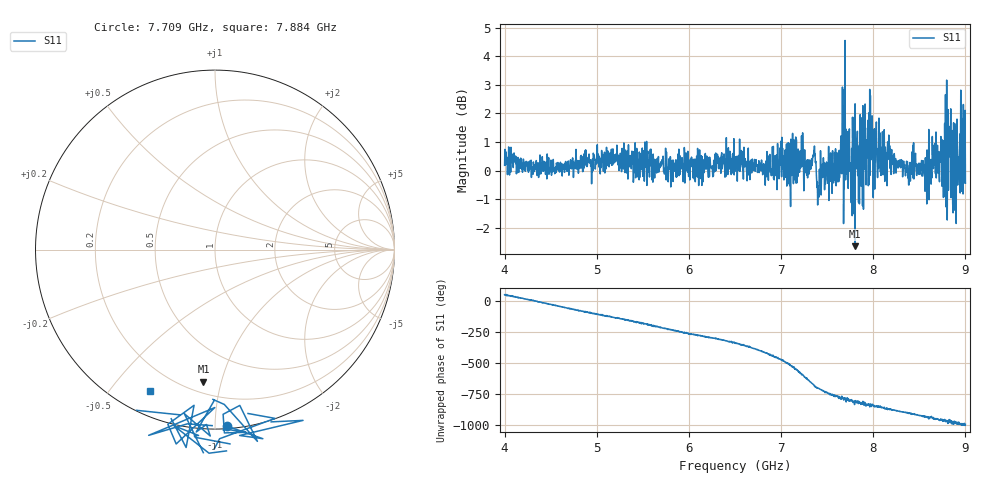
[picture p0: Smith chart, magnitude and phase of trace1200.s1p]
! Created with skrf 1.8.0 (http://scikit-rf.org).
# Hz S RI R 50.0
!freq ReS11 ImS11
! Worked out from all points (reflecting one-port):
!   1601 points, 4 GHz to 9 GHz, reference 50 ohm
!   lowest |S11| = -2.6 dB at 7.8 GHz (marker M1), VSWR 6.64, Z = 13.6 - j43.9 ohm
!   phase of S11 starts at 51 deg and turns -1048 deg over the sweep
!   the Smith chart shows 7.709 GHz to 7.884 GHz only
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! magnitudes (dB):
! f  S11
! 4 GHz  0.2
! 4.625 GHz  -0.2
! 5.25 GHz  0.1
! 5.875 GHz  0.1
! 6.5 GHz  0.2
! 6.819 GHz  0.0
! 7.125 GHz  1.3
! 7.272 GHz  0.2
! 7.353 GHz  0.5
! 7.412 GHz  -0.9
! 7.453 GHz  -0.2
! 7.619 GHz  0.5
! 7.672 GHz  1.6
! 7.75 GHz  0.2
! 7.775 GHz  1.9
! 7.8 GHz  -2.6
! 7.859 GHz  2.0
! 7.962 GHz  2.8
! 8.022 GHz  0.3
! 8.375 GHz  -0.1
! 8.441 GHz  -0.3
! 8.556 GHz  -0.2
! 8.666 GHz  0.2
! 8.766 GHz  1.0
! 8.816 GHz  -0.7
! 8.875 GHz  0.3
! 8.972 GHz  0.7
! 9 GHz  -0.4
